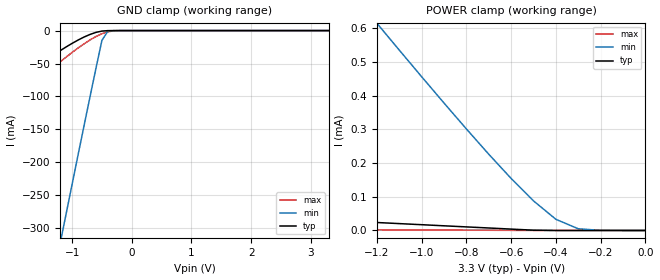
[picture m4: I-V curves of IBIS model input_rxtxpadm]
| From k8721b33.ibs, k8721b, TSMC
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|   Model input_rxtxpadm
[Model]   input_rxtxpadm
Model_type   Input
Polarity   Non-Inverting
Vinl =   0.8V
Vinh =   2.0V
C_comp   2.28e-12F   2.07e-12F   2.38e-12F
[Temperature Range]   25   125   0
[Voltage Range]   3.30V   3.00V   3.60V
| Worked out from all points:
|   GND clamp passes 1 mA (typ) near -0.51 V on its own axis
[POWER_clamp]
| voltage   I(typ)   I(min)   I(max)
-3.3V     92.09uA    2.334mA    10.38uA
-1.2V     23.64uA    614.8uA    2.017uA
-1.1V     20.39uA    535.1uA    1.739uA
-800mV    10.61uA    301.2uA    934.1nA
-600mV    4.096uA    154.2uA    415.7nA
-500mV    837.9nA    87.72uA    160.7nA
-400mV    18.56nA    33.13uA    92.89nA
-300mV    1.111nA    4.97uA     82.13nA
-200mV    716.7pA    332.5nA    73.87nA
0V        648pA      15.47nA    61.49nA
[GND_clamp]
| voltage   I(typ)   I(min)   I(max)
-3.3V     -150.1mA   -1.277A    -182.9mA
-2.9V     -130.4mA   -1.096A    -162mA
-2.4V     -103.2mA   -869.2mA   -132.1mA
-1.9V     -73.3mA    -641.3mA   -98.35mA
-1.2V     -30.53mA   -323.4mA   -47.46mA
-1.1V     -24.84mA   -278.3mA   -40.27mA
-800mV    -9.808mA   -144.6mA   -20.13mA
-600mV    -2.725mA   -57.32mA   -9.029mA
-500mV    -746.3uA   -14.79mA   -4.756mA
-400mV    -89.13uA   -907.7uA   -1.807mA
-200mV    -251.8nA   -3.268uA   -24.86uA
3.3V      648pA      4.97uA     50.06nA
